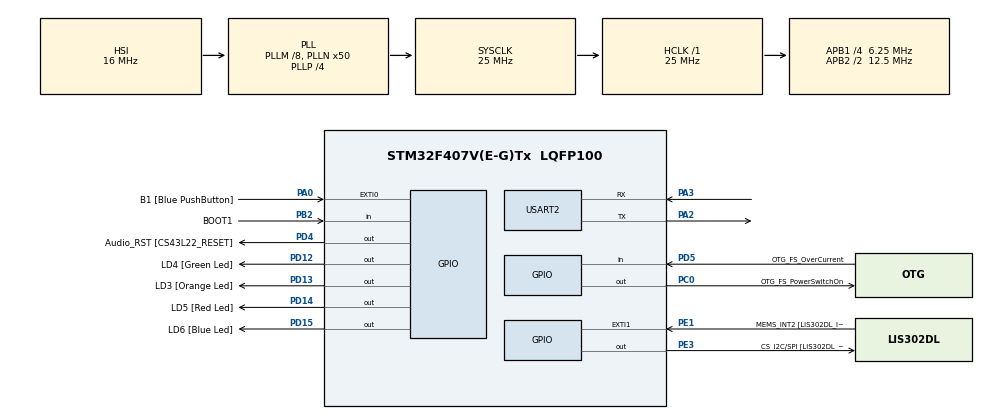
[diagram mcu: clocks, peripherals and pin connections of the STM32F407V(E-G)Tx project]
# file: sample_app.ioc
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Mcu.Family=STM32F4
Mcu.Name=STM32F407V(E-G)Tx
Mcu.Package=LQFP100
NVIC.PriorityGroup=NVIC_PRIORITYGROUP_4
NVIC.TIM6_DAC_IRQn=true\:0\:0\:false\:false\:true\:false\:true\:true
NVIC.TIM7_IRQn=true\:0\:0\:false\:false\:true\:true\:true\:true
NVIC.TimeBase=TIM6_DAC_IRQn
NVIC.TimeBaseIP=TIM6
NVIC.USART2_IRQn=true\:0\:0\:false\:false\:true\:true\:true\:true
PA0-WKUP.GPIO_Label=B1 [Blue PushButton]
PA0-WKUP.Signal=GPXTI0
PA10.GPIO_Label=OTG_FS_ID
PA10.GPIO_Mode=GPIO_MODE_AF_PP
PA10.GPIO_PuPd=GPIO_NOPULL
PA10.GPIO_Speed=GPIO_SPEED_FREQ_LOW
PA10.Signal=USB_OTG_FS_ID
PA11.GPIO_Label=OTG_FS_DM
PA11.GPIO_Mode=GPIO_MODE_AF_PP
PA11.GPIO_PuPd=GPIO_NOPULL
PA11.GPIO_Speed=GPIO_SPEED_FREQ_LOW
PA11.Signal=USB_OTG_FS_DM
PA12.GPIO_Label=OTG_FS_DP
PA12.GPIO_Mode=GPIO_MODE_AF_PP
PA12.GPIO_PuPd=GPIO_NOPULL
PA12.GPIO_Speed=GPIO_SPEED_FREQ_LOW
PA12.Signal=USB_OTG_FS_DP
PA13.GPIO_Label=SWDIO
PA13.Signal=SYS_JTMS-SWDIO
PA14.GPIO_Label=SWCLK
PA14.Signal=SYS_JTCK-SWCLK
PA2.Mode=Asynchronous
PA2.Signal=USART2_TX
PA3.Mode=Asynchronous
PA3.Signal=USART2_RX
PA4.GPIO_Label=I2S3_WS [CS43L22_LRCK]
PA4.GPIO_Mode=GPIO_MODE_AF_PP
PA4.GPIO_PuPd=GPIO_NOPULL
PA4.GPIO_Speed=GPIO_SPEED_FREQ_LOW
PA4.Signal=I2S3_WS
PA5.GPIO_Label=SPI1_SCK [LIS302DL_SCL/SPC]
PA5.GPIO_Mode=GPIO_MODE_AF_PP
PA5.GPIO_PuPd=GPIO_NOPULL
PA5.GPIO_Speed=GPIO_SPEED_FREQ_LOW
PA5.Signal=SPI1_SCK
PA6.GPIO_Label=SPI1_MISO [LIS302DL_SDO]
PA6.GPIO_Mode=GPIO_MODE_AF_PP
PA6.GPIO_PuPd=GPIO_NOPULL
PA6.GPIO_Speed=GPIO_SPEED_FREQ_LOW
PA6.Signal=SPI1_MISO
PA7.GPIO_Label=SPI1_MOSI [LIS302DL_SDA/SDI/SDO]
PA7.GPIO_Mode=GPIO_MODE_AF_PP
PA7.GPIO_PuPd=GPIO_NOPULL
PA7.GPIO_Speed=GPIO_SPEED_FREQ_LOW
PA7.Signal=SPI1_MOSI
PA9.GPIO_Label=VBUS_FS
PA9.GPIO_Mode=GPIO_MODE_INPUT
PA9.GPIO_PuPd=GPIO_NOPULL
PA9.Signal=USB_OTG_FS_VBUS
PB10.GPIO_Label=CLK_IN [MP45DT02_CLK]
PB10.GPIO_Mode=GPIO_MODE_AF_PP
PB10.GPIO_PuPd=GPIO_NOPULL
PB10.GPIO_Speed=GPIO_SPEED_FREQ_LOW
PB10.Signal=I2S2_CK
PB2.GPIO_Label=BOOT1
PB2.GPIO_Mode=GPIO_MODE_INPUT
PB2.GPIO_PuPd=GPIO_NOPULL
PB2.Signal=GPIO_Input
PB3.GPIO_Label=SWO
PB3.Signal=SYS_JTDO-SWO
PB6.GPIO_Label=Audio_SCL [CS43L22_SCL]
PB6.GPIO_Mode=GPIO_MODE_AF_OD
PB6.GPIO_PuPd=GPIO_NOPULL
PB6.GPIO_Speed=GPIO_SPEED_FREQ_LOW
PB6.Signal=I2C1_SCL
PB9.GPIO_Label=Audio_SDA [CS43L22_SDA]
PB9.GPIO_Mode=GPIO_MODE_AF_OD
PB9.GPIO_PuPd=GPIO_NOPULL
PB9.GPIO_Speed=GPIO_SPEED_FREQ_LOW
PB9.Signal=I2C1_SDA
PC0.GPIO_Label=OTG_FS_PowerSwitchOn
PC0.GPIO_PuPd=GPIO_NOPULL
PC0.GPIO_Speed=GPIO_SPEED_FREQ_LOW
PC0.PinState=GPIO_PIN_SET
PC0.Signal=GPIO_Output
PC10.GPIO_Label=I2S3_SCK [CS43L22_SCLK]
PC10.GPIO_Mode=GPIO_MODE_AF_PP
PC10.GPIO_PuPd=GPIO_NOPULL
PC10.GPIO_Speed=GPIO_SPEED_FREQ_LOW
PC10.Signal=I2S3_CK
PC12.GPIO_Label=I2S3_SD [CS43L22_SDIN]
PC12.GPIO_Mode=GPIO_MODE_AF_PP
PC12.GPIO_PuPd=GPIO_NOPULL
PC12.GPIO_Speed=GPIO_SPEED_FREQ_LOW
PC12.Signal=I2S3_SD
PC14-OSC32_IN.GPIO_Label=PC14-OSC32_IN
PC14-OSC32_IN.Signal=RCC_OSC32_IN
PC15-OSC32_OUT.GPIO_Label=PC15-OSC32_OUT
PC15-OSC32_OUT.Signal=RCC_OSC32_OUT
PC3.GPIO_Label=PDM_OUT [MP45DT02_DOUT]
PC3.GPIO_Mode=GPIO_MODE_AF_PP
PC3.GPIO_PuPd=GPIO_NOPULL
PC3.GPIO_Speed=GPIO_SPEED_FREQ_LOW
PC3.Signal=I2S2_SD
PC7.GPIO_Label=I2S3_MCK [CS43L22_MCLK]
PC7.GPIO_Mode=GPIO_MODE_AF_PP
PC7.GPIO_PuPd=GPIO_NOPULL
PC7.GPIO_Speed=GPIO_SPEED_FREQ_LOW
PC7.Signal=I2S3_MCK
PD12.GPIO_Label=LD4 [Green Led]
PD12.GPIO_PuPd=GPIO_NOPULL
PD12.GPIO_Speed=GPIO_SPEED_FREQ_LOW
PD12.Signal=GPIO_Output
PD13.GPIO_Label=LD3 [Orange Led]
PD13.GPIO_PuPd=GPIO_NOPULL
PD13.GPIO_Speed=GPIO_SPEED_FREQ_LOW
PD13.Signal=GPIO_Output
PD14.GPIO_Label=LD5 [Red Led]
PD14.GPIO_PuPd=GPIO_NOPULL
PD14.GPIO_Speed=GPIO_SPEED_FREQ_LOW
PD14.Signal=GPIO_Output
PD15.GPIO_Label=LD6 [Blue Led]
PD15.GPIO_PuPd=GPIO_NOPULL
PD15.GPIO_Speed=GPIO_SPEED_FREQ_LOW
PD15.Signal=GPIO_Output
PD4.GPIO_Label=Audio_RST [CS43L22_RESET]
PD4.GPIO_PuPd=GPIO_NOPULL
PD4.GPIO_Speed=GPIO_SPEED_FREQ_LOW
PD4.Signal=GPIO_Output
PD5.GPIO_Label=OTG_FS_OverCurrent
PD5.GPIO_Mode=GPIO_MODE_INPUT
PD5.GPIO_PuPd=GPIO_NOPULL
PD5.Signal=GPIO_Input
PE1.GPIO_Label=MEMS_INT2 [LIS302DL_INT2]
PE1.GPIO_ModeDefaultEXTI=GPIO_MODE_EVT_RISING
PE1.GPIO_PuPd=GPIO_NOPULL
PE1.Signal=GPXTI1
PE3.GPIO_Label=CS_I2C/SPI [LIS302DL_CS_I2C/SPI]
PE3.GPIO_PuPd=GPIO_NOPULL
PE3.GPIO_Speed=GPIO_SPEED_FREQ_LOW
PE3.Signal=GPIO_Output
PH0-OSC_IN.GPIO_Label=PH0-OSC_IN
PH0-OSC_IN.Signal=RCC_OSC_IN
PH1-OSC_OUT.GPIO_Label=PH1-OSC_OUT
PH1-OSC_OUT.Signal=RCC_OSC_OUT
ProjectManager.HeapSize=0x200
ProjectManager.StackSize=0x400
ProjectManager.TargetToolchain=STM32CubeIDE
RCC.48MHZClocksFreq_Value=14285714.285714285
RCC.AHBFreq_Value=25000000
RCC.APB1CLKDivider=RCC_HCLK_DIV4
RCC.APB1Freq_Value=6250000
RCC.APB1TimFreq_Value=12500000
RCC.APB2CLKDivider=RCC_HCLK_DIV2
RCC.APB2Freq_Value=12500000
RCC.APB2TimFreq_Value=25000000
RCC.CortexFreq_Value=25000000
RCC.HCLKFreq_Value=25000000
RCC.HSE_VALUE=8000000
RCC.HSI_VALUE=16000000
RCC.LSE_VALUE=32768
RCC.PLLM=8
RCC.PLLN=50
RCC.PLLP=RCC_PLLP_DIV4
RCC.PLLQ=7
RCC.SYSCLKFreq_VALUE=25000000
RCC.SYSCLKSource=RCC_SYSCLKSOURCE_PLLCLK
RCC.VCOOutputFreq_Value=100000000
USART2.VirtualMode=VM_ASYNC
VP_RTC_VS_RTC_Activate.Mode=RTC_Enabled
VP_SYS_VS_tim6.Mode=TIM6
VP_TIM7_VS_ClockSourceINT.Mode=Enable_Timer
board=STM32F407G-DISC1

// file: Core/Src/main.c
/* USER CODE BEGIN Header */
/**
  ******************************************************************************
  * @file           : main.c
  * @brief          : Main program body
  ******************************************************************************
  * @attention
  *
  * Copyright (c) 2025 STMicroelectronics.
  * All rights reserved.
  *
  * This software is licensed under terms that can be found in the LICENSE file
  * in the root directory of this software component.
  * If no LICENSE file comes with this software, it is provided AS-IS.
  *
  ******************************************************************************
  */
/* USER CODE END Header */
#include "main.h"

/* USER CODE BEGIN PD */

uint8_t user_data;			// global Rx data
uint8_t uart_tx_buff[512] = {0};

/* USER CODE END PD */

RTC_HandleTypeDef hrtc;

TIM_HandleTypeDef htim7;

UART_HandleTypeDef huart2;

/* USER CODE BEGIN PV */
TimerHandle_t rtc_timer;

TaskHandle_t menu_task_handle;
TaskHandle_t leds_task_handle;
TaskHandle_t rtc_task_handle;
TaskHandle_t print_task_handle;
TaskHandle_t cmd_handler_task_handle;

state_t app_curr_state = sMainMenu;

/* USER CODE END PV */

void SystemClock_Config(void);
static void MX_GPIO_Init(void);
static void MX_RTC_Init(void);
static void MX_TIM7_Init(void);
static void MX_USART2_UART_Init(void);
/* USER CODE BEGIN PFP */

void UART_GPIOs_Init(void);

/* USER CODE END PFP */

/* USER CODE BEGIN 0 */

QueueHandle_t q_data;
QueueHandle_t q_print;

void menu_task(void* params){
	menu_task_handler(params);
}

void leds_task(void* params){
	leds_task_handler(params);
}

void rtc_task(void* params){
	rtc_task_handler(params);
}

void print_task(void* params){
	print_task_handler(params);
}

void cmd_handler_task(void* params){
	command_handle_task_handler(params);
}

/* USER CODE END 0 */

int main(void)
{

  /* USER CODE BEGIN 1 */
	BaseType_t status = pdPASS;

  /* USER CODE END 1 */

  /* MCU Configuration--------------------------------------------------------*/

  /* Reset of all peripherals, Initializes the Flash interface and the Systick. */
  HAL_Init();

  /* Configure the system clock */
  SystemClock_Config();

  /* USER CODE BEGIN SysInit */
  UART_GPIOs_Init();

  /* USER CODE END SysInit */

  /* Initialize all configured peripherals */
  MX_GPIO_Init();
  MX_RTC_Init();
  MX_TIM7_Init();
  MX_USART2_UART_Init();
  /* USER CODE BEGIN 2 */

  printf("Task 008 started!\n");

  // timer create for RTC reporting
  rtc_timer = xTimerCreate("RTC_Timer", pdMS_TO_TICKS(1000), pdTRUE, 0, rtc_timer_callback);

  status = xTaskCreate(menu_task, "Menu", 256, NULL, 2, &menu_task_handle);
  configASSERT(status == pdPASS);

  status = xTaskCreate(leds_task, "LEDS", 256, NULL, 2, &leds_task_handle);
  configASSERT(status == pdPASS);

  status = xTaskCreate(rtc_task, "RTC", 256, NULL, 2, &rtc_task_handle);
  configASSERT(status == pdPASS);

  status = xTaskCreate(print_task, "Print_UART", 256, NULL, 2, &print_task_handle);
  configASSERT(status == pdPASS);

  status = xTaskCreate(cmd_handler_task, "CMD", 256, NULL, 2, &cmd_handler_task_handle);
  configASSERT(status == pdPASS);

  q_data = xQueueCreate(10, sizeof(char));
  configASSERT(q_data);

  //q_print = xQueueCreate(10, sizeof(tx_command_t*));
  q_print = xQueueCreate(10, sizeof(size_t));
  configASSERT(q_print);

  // Enable the RX in interrupt mode
  HAL_UART_Receive_IT(&huart2, &user_data, 1);

  vTaskStartScheduler();

  /* USER CODE END 2 */

  /* Infinite loop */
  while (1)
  {

  }
}

void SystemClock_Config(void)
{
  RCC_OscInitTypeDef RCC_OscInitStruct = {0};
  RCC_ClkInitTypeDef RCC_ClkInitStruct = {0};

  /** Configure the main internal regulator output voltage
  */
  __HAL_RCC_PWR_CLK_ENABLE();
  __HAL_PWR_VOLTAGESCALING_CONFIG(PWR_REGULATOR_VOLTAGE_SCALE1);

  /** Initializes the RCC Oscillators according to the specified parameters
  * in the RCC_OscInitTypeDef structure.
  */
  RCC_OscInitStruct.OscillatorType = RCC_OSCILLATORTYPE_HSI|RCC_OSCILLATORTYPE_LSI;
  RCC_OscInitStruct.HSIState = RCC_HSI_ON;
  RCC_OscInitStruct.HSICalibrationValue = RCC_HSICALIBRATION_DEFAULT;
  RCC_OscInitStruct.LSIState = RCC_LSI_ON;
  RCC_OscInitStruct.PLL.PLLState = RCC_PLL_ON;
  RCC_OscInitStruct.PLL.PLLSource = RCC_PLLSOURCE_HSI;
  RCC_OscInitStruct.PLL.PLLM = 8;
  RCC_OscInitStruct.PLL.PLLN = 50;
  RCC_OscInitStruct.PLL.PLLP = RCC_PLLP_DIV4;
  RCC_OscInitStruct.PLL.PLLQ = 7;
  if (HAL_RCC_OscConfig(&RCC_OscInitStruct) != HAL_OK)
  {
    Error_Handler();
  }

  /** Initializes the CPU, AHB and APB buses clocks
  */
  RCC_ClkInitStruct.ClockType = RCC_CLOCKTYPE_HCLK|RCC_CLOCKTYPE_SYSCLK
                              |RCC_CLOCKTYPE_PCLK1|RCC_CLOCKTYPE_PCLK2;
  RCC_ClkInitStruct.SYSCLKSource = RCC_SYSCLKSOURCE_PLLCLK;
  RCC_ClkInitStruct.AHBCLKDivider = RCC_SYSCLK_DIV1;
  RCC_ClkInitStruct.APB1CLKDivider = RCC_HCLK_DIV4;
  RCC_ClkInitStruct.APB2CLKDivider = RCC_HCLK_DIV2;

  if (HAL_RCC_ClockConfig(&RCC_ClkInitStruct, FLASH_LATENCY_0) != HAL_OK)
  {
    Error_Handler();
  }
}

static void MX_RTC_Init(void)
{

  /* USER CODE BEGIN RTC_Init 1 */
//  __HAL_RCC_BKPSRAM_CLK_ENABLE();  // Enable the Backup SRAM clock
//   __HAL_RCC_RTC_ENABLE();          // Enable the RTC peripheral clock
//   HAL_PWR_EnableBkUpAccess();      // Enable access to RTC and backup domain

  /* USER CODE END RTC_Init 1 */

  /** Initialize RTC Only
  */
  hrtc.Instance = RTC;
  hrtc.Init.HourFormat = RTC_HOURFORMAT_12;
  hrtc.Init.AsynchPrediv = 127;
  hrtc.Init.SynchPrediv = 255;
  hrtc.Init.OutPut = RTC_OUTPUT_DISABLE;
  hrtc.Init.OutPutPolarity = RTC_OUTPUT_POLARITY_HIGH;
  hrtc.Init.OutPutType = RTC_OUTPUT_TYPE_OPENDRAIN;
  if (HAL_RTC_Init(&hrtc) != HAL_OK)
  {
    Error_Handler();
  }

}

static void MX_TIM7_Init(void)
{

  /* USER CODE BEGIN TIM7_Init 0 */
	//65535

  /* USER CODE END TIM7_Init 0 */

  TIM_MasterConfigTypeDef sMasterConfig = {0};

  htim7.Instance = TIM7;
  htim7.Init.Prescaler = 6249;
  htim7.Init.CounterMode = TIM_COUNTERMODE_UP;
  htim7.Init.Period = 999;
  htim7.Init.AutoReloadPreload = TIM_AUTORELOAD_PRELOAD_DISABLE;
  if (HAL_TIM_Base_Init(&htim7) != HAL_OK)
  {
    Error_Handler();
  }
  sMasterConfig.MasterOutputTrigger = TIM_TRGO_RESET;
  sMasterConfig.MasterSlaveMode = TIM_MASTERSLAVEMODE_DISABLE;
  if (HAL_TIMEx_MasterConfigSynchronization(&htim7, &sMasterConfig) != HAL_OK)
  {
    Error_Handler();
  }

}

static void MX_USART2_UART_Init(void)
{

  huart2.Instance = USART2;
  huart2.Init.BaudRate = 115200;
  huart2.Init.WordLength = UART_WORDLENGTH_8B;
  huart2.Init.StopBits = UART_STOPBITS_1;
  huart2.Init.Parity = UART_PARITY_NONE;
  huart2.Init.Mode = UART_MODE_TX_RX;
  huart2.Init.HwFlowCtl = UART_HWCONTROL_NONE;
  huart2.Init.OverSampling = UART_OVERSAMPLING_16;
  if (HAL_UART_Init(&huart2) != HAL_OK)
  {
    Error_Handler();
  }

}

static void MX_GPIO_Init(void)
{
  GPIO_InitTypeDef GPIO_InitStruct = {0};

  /* GPIO Ports Clock Enable */
  __HAL_RCC_GPIOE_CLK_ENABLE();
  __HAL_RCC_GPIOC_CLK_ENABLE();
  __HAL_RCC_GPIOH_CLK_ENABLE();
  __HAL_RCC_GPIOA_CLK_ENABLE();
  __HAL_RCC_GPIOB_CLK_ENABLE();
  __HAL_RCC_GPIOD_CLK_ENABLE();

  /*Configure GPIO pin Output Level */
  HAL_GPIO_WritePin(CS_I2C_SPI_GPIO_Port, CS_I2C_SPI_Pin, GPIO_PIN_RESET);

  /*Configure GPIO pin Output Level */
  HAL_GPIO_WritePin(OTG_FS_PowerSwitchOn_GPIO_Port, OTG_FS_PowerSwitchOn_Pin, GPIO_PIN_SET);

  /*Configure GPIO pin Output Level */
  HAL_GPIO_WritePin(GPIOD, LD4_Pin|LD3_Pin|LD5_Pin|LD6_Pin
                          |Audio_RST_Pin, GPIO_PIN_RESET);

  /*Configure GPIO pin : CS_I2C_SPI_Pin */
  GPIO_InitStruct.Pin = CS_I2C_SPI_Pin;
  GPIO_InitStruct.Mode = GPIO_MODE_OUTPUT_PP;
  GPIO_InitStruct.Pull = GPIO_NOPULL;
  GPIO_InitStruct.Speed = GPIO_SPEED_FREQ_LOW;
  HAL_GPIO_Init(CS_I2C_SPI_GPIO_Port, &GPIO_InitStruct);

  /*Configure GPIO pin : OTG_FS_PowerSwitchOn_Pin */
  GPIO_InitStruct.Pin = OTG_FS_PowerSwitchOn_Pin;
  GPIO_InitStruct.Mode = GPIO_MODE_OUTPUT_PP;
  GPIO_InitStruct.Pull = GPIO_NOPULL;
  GPIO_InitStruct.Speed = GPIO_SPEED_FREQ_LOW;
  HAL_GPIO_Init(OTG_FS_PowerSwitchOn_GPIO_Port, &GPIO_InitStruct);

  /*Configure GPIO pin : PDM_OUT_Pin */
  GPIO_InitStruct.Pin = PDM_OUT_Pin;
  GPIO_InitStruct.Mode = GPIO_MODE_AF_PP;
  GPIO_InitStruct.Pull = GPIO_NOPULL;
  GPIO_InitStruct.Speed = GPIO_SPEED_FREQ_LOW;
  GPIO_InitStruct.Alternate = GPIO_AF5_SPI2;
  HAL_GPIO_Init(PDM_OUT_GPIO_Port, &GPIO_InitStruct);

  /*Configure GPIO pin : B1_Pin */
  GPIO_InitStruct.Pin = B1_Pin;
  GPIO_InitStruct.Mode = GPIO_MODE_IT_RISING;
  GPIO_InitStruct.Pull = GPIO_NOPULL;
  HAL_GPIO_Init(B1_GPIO_Port, &GPIO_InitStruct);

  /*Configure GPIO pin : I2S3_WS_Pin */
  GPIO_InitStruct.Pin = I2S3_WS_Pin;
  GPIO_InitStruct.Mode = GPIO_MODE_AF_PP;
  GPIO_InitStruct.Pull = GPIO_NOPULL;
  GPIO_InitStruct.Speed = GPIO_SPEED_FREQ_LOW;
  GPIO_InitStruct.Alternate = GPIO_AF6_SPI3;
  HAL_GPIO_Init(I2S3_WS_GPIO_Port, &GPIO_InitStruct);

  /*Configure GPIO pins : SPI1_SCK_Pin SPI1_MISO_Pin SPI1_MOSI_Pin */
  GPIO_InitStruct.Pin = SPI1_SCK_Pin|SPI1_MISO_Pin|SPI1_MOSI_Pin;
  GPIO_InitStruct.Mode = GPIO_MODE_AF_PP;
  GPIO_InitStruct.Pull = GPIO_NOPULL;
  GPIO_InitStruct.Speed = GPIO_SPEED_FREQ_LOW;
  GPIO_InitStruct.Alternate = GPIO_AF5_SPI1;
  HAL_GPIO_Init(GPIOA, &GPIO_InitStruct);

  /*Configure GPIO pin : BOOT1_Pin */
  GPIO_InitStruct.Pin = BOOT1_Pin;
  GPIO_InitStruct.Mode = GPIO_MODE_INPUT;
  GPIO_InitStruct.Pull = GPIO_NOPULL;
  HAL_GPIO_Init(BOOT1_GPIO_Port, &GPIO_InitStruct);

  /*Configure GPIO pin : CLK_IN_Pin */
  GPIO_InitStruct.Pin = CLK_IN_Pin;
  GPIO_InitStruct.Mode = GPIO_MODE_AF_PP;
  GPIO_InitStruct.Pull = GPIO_NOPULL;
  GPIO_InitStruct.Speed = GPIO_SPEED_FREQ_LOW;
  GPIO_InitStruct.Alternate = GPIO_AF5_SPI2;
  HAL_GPIO_Init(CLK_IN_GPIO_Port, &GPIO_InitStruct);

  /*Configure GPIO pins : LD4_Pin LD3_Pin LD5_Pin LD6_Pin
                           Audio_RST_Pin */
  GPIO_InitStruct.Pin = LD4_Pin|LD3_Pin|LD5_Pin|LD6_Pin
                          |Audio_RST_Pin;
  GPIO_InitStruct.Mode = GPIO_MODE_OUTPUT_PP;
  GPIO_InitStruct.Pull = GPIO_NOPULL;
  GPIO_InitStruct.Speed = GPIO_SPEED_FREQ_LOW;
  HAL_GPIO_Init(GPIOD, &GPIO_InitStruct);

  /*Configure GPIO pins : I2S3_MCK_Pin I2S3_SCK_Pin I2S3_SD_Pin */
  GPIO_InitStruct.Pin = I2S3_MCK_Pin|I2S3_SCK_Pin|I2S3_SD_Pin;
  GPIO_InitStruct.Mode = GPIO_MODE_AF_PP;
  GPIO_InitStruct.Pull = GPIO_NOPULL;
  GPIO_InitStruct.Speed = GPIO_SPEED_FREQ_LOW;
  GPIO_InitStruct.Alternate = GPIO_AF6_SPI3;
  HAL_GPIO_Init(GPIOC, &GPIO_InitStruct);

  /*Configure GPIO pin : VBUS_FS_Pin */
  GPIO_InitStruct.Pin = VBUS_FS_Pin;
  GPIO_InitStruct.Mode = GPIO_MODE_INPUT;
  GPIO_InitStruct.Pull = GPIO_NOPULL;
  HAL_GPIO_Init(VBUS_FS_GPIO_Port, &GPIO_InitStruct);

  /*Configure GPIO pins : OTG_FS_ID_Pin OTG_FS_DM_Pin OTG_FS_DP_Pin */
  GPIO_InitStruct.Pin = OTG_FS_ID_Pin|OTG_FS_DM_Pin|OTG_FS_DP_Pin;
  GPIO_InitStruct.Mode = GPIO_MODE_AF_PP;
  GPIO_InitStruct.Pull = GPIO_NOPULL;
  GPIO_InitStruct.Speed = GPIO_SPEED_FREQ_LOW;
  GPIO_InitStruct.Alternate = GPIO_AF10_OTG_FS;
  HAL_GPIO_Init(GPIOA, &GPIO_InitStruct);

  /*Configure GPIO pin : OTG_FS_OverCurrent_Pin */
  GPIO_InitStruct.Pin = OTG_FS_OverCurrent_Pin;
  GPIO_InitStruct.Mode = GPIO_MODE_INPUT;
  GPIO_InitStruct.Pull = GPIO_NOPULL;
  HAL_GPIO_Init(OTG_FS_OverCurrent_GPIO_Port, &GPIO_InitStruct);

  /*Configure GPIO pins : Audio_SCL_Pin Audio_SDA_Pin */
  GPIO_InitStruct.Pin = Audio_SCL_Pin|Audio_SDA_Pin;
  GPIO_InitStruct.Mode = GPIO_MODE_AF_OD;
  GPIO_InitStruct.Pull = GPIO_NOPULL;
  GPIO_InitStruct.Speed = GPIO_SPEED_FREQ_LOW;
  GPIO_InitStruct.Alternate = GPIO_AF4_I2C1;
  HAL_GPIO_Init(GPIOB, &GPIO_InitStruct);

  /*Configure GPIO pin : MEMS_INT2_Pin */
  GPIO_InitStruct.Pin = MEMS_INT2_Pin;
  GPIO_InitStruct.Mode = GPIO_MODE_EVT_RISING;
  GPIO_InitStruct.Pull = GPIO_NOPULL;
  HAL_GPIO_Init(MEMS_INT2_GPIO_Port, &GPIO_InitStruct);

}

/* USER CODE BEGIN 4 */

void UART_GPIOs_Init(void){

	GPIO_InitTypeDef GPIO_InitStruct = {0};

	/*Configure GPIO pins : UART2 TX , RX pins */
	GPIO_InitStruct.Pin = USART2_TX_PIN | USART2_RX_PIN;
	GPIO_InitStruct.Mode = GPIO_MODE_AF_PP;
	GPIO_InitStruct.Pull = GPIO_NOPULL;
	GPIO_InitStruct.Speed = GPIO_SPEED_FREQ_LOW;
	GPIO_InitStruct.Alternate = GPIO_AF7_USART2;
	HAL_GPIO_Init(USART2_GPIO_port, &GPIO_InitStruct);

}

void cmd_buff_init(command_t* buff){
	// Init command
	memset(&buff->payload, 0x00, sizeof(buff->payload));
	buff->len = 0;
}

#if 0
/** [RV] This code supplied in the course - I implemented differently below
  * @brief  Rx Transfer completed callbacks. The data is transfered to the queue.
  * @param  huart  Pointer to a UART_HandleTypeDef structure that contains
  *                the configuration information for the specified UART module.
  * @retval None
  */
void HAL_UART_RxCpltCallback(UART_HandleTypeDef *huart) {

	uint8_t dummy;

	if(!xQueueIsQueueFullFromISR(q_data)){
		/*Queue is not full */
   		xQueueSendFromISR(q_data, (void*)&user_data, NULL);
	}
	else{
		/*Queue is full */
		if(user_data == '\n'){
			/*user_data = '\n' */
			/*Make sure that last data byte of the queue is '\n' */
			xQueueReceiveFromISR(q_data,(void*)&dummy,NULL);
			xQueueSendFromISR(q_data ,(void*)&user_data , NULL);
		}
	}

	/* Send notification to command handling task if user_data = '\n' */
	if( user_data == '\n' ){
		xTaskNotifyFromISR(cmd_handler_task_handle, 0 , eNoAction, NULL);
	}

	/* Re-Enable UART data byte reception again in IT mode */
	HAL_UART_Receive_IT(&huart2, (uint8_t*)&user_data, 1);
}
#endif

/**
  * @brief  Rx Transfer completed callbacks.
  * This function push the received data to the queue.
  * @param  huart  Pointer to a UART_HandleTypeDef structure that contains
  *                the configuration information for the specified UART module.
  * @retval None
  */
void HAL_UART_RxCpltCallback(UART_HandleTypeDef *huart) {

	if(huart->Instance == USART2){
		// Push data to queue
		xQueueSendFromISR(q_data, (void*)&user_data, NULL);

		// Check if end of message of the queue is full
		if(user_data == '\n' || xQueueIsQueueFullFromISR(q_data)){
			xTaskNotifyFromISR(cmd_handler_task_handle, 0 , eNoAction, NULL);
		}

		// Re-Enable IT mode
		HAL_UART_Receive_IT(&huart2, (uint8_t*)&user_data, 1);
	}
}

/* USER CODE END 4 */

void HAL_TIM_PeriodElapsedCallback(TIM_HandleTypeDef *htim)
{
  /* USER CODE BEGIN Callback 0 */
  if(htim->Instance == TIM7){
	leds_execute_handler();
  }

  /* USER CODE END Callback 0 */
  if (htim->Instance == TIM6) {
    HAL_IncTick();
  }
}

void Error_Handler(void)
{
  __disable_irq();
  while (1)
  {
  }
}
